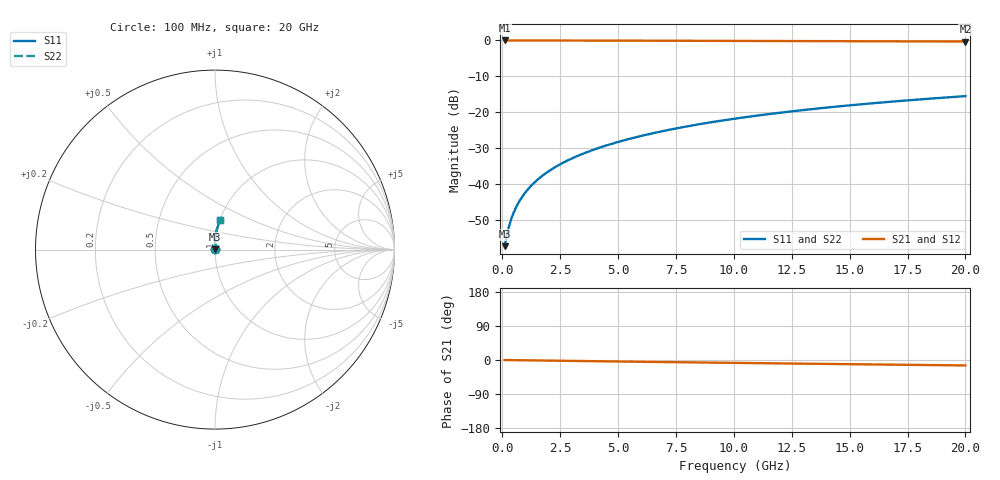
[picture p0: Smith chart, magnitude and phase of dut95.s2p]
! Touchstone file exported from HFSS 2024.1.0
!  File:  C:/UserFiles/LocalFiles/RDL_TSV_Batchsim/temp_RDL_top_95_1778683032.aedt
!  Generated:  10:39:29 PM May 13, 2026
!  Design:  RDL_top
!  Project:  temp_RDL_top_95_1778683032
!  Setup:  Setup1
!  Solution:  Sweep
! Variables:
!  dtsv = 10.80580581um
!  hbump = 3um
!  htsv = 89.74um
!  ldown = 100um
!  lrdl = 160.21um
!  p = 40
!  p1 = 52.09um
!  rhole = 1um
!  t = 450um
!  tdown = 3.915915916um
!  trdl = 3.1um
!  wdown = 15.38538539um
!  wrdl = 22.23um
# GHz S MA R 50.000000
! Terminal data exported
! Port[1] = Box2_T1
! Port[2] = Box2_T2
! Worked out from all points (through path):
!   200 points, 100 MHz to 20 GHz, reference 50 ohm
!   highest |S21| = -0.01 dB at 100 MHz (marker M1); lowest = -0.3 dB at 20 GHz (marker M2)
!   group delay of S21, straight-line fit = 1.98 ps
!   lowest |S11| = -57.4 dB at 100 MHz (marker M3), VSWR 1.00, Z = 50.1 + j0.0802 ohm
!   |S11| at or under -10 dB: start of sweep to end of sweep
!   |S22| runs from -57.4 to -15.5 dB; largest |S21 - S12| = 3.4e-15
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0.1  0.001347 36.5  0.9989 -0.1  0.9989 -0.1  0.001347 36.5
! Gamma 0 0 0 0
! Port Impedance 50 0 50 0
0.2  0.001938 54.8  0.9989 -0.2  0.9989 -0.2  0.001938 54.8
0.3  0.002616 63.7  0.9988 -0.3  0.9988 -0.3  0.002616 63.7
0.4  0.003314 68.9  0.9988 -0.3  0.9988 -0.3  0.003314 68.9
0.5  0.004018 72.3  0.9987 -0.4  0.9987 -0.4  0.004018 72.3
0.6  0.004726 74.8  0.9987 -0.5  0.9987 -0.5  0.004726 74.8
0.8  0.006151 78.2  0.9986 -0.7  0.9986 -0.7  0.006151 78.2
1.1  0.008315 81.3  0.9984 -0.9  0.9984 -0.9  0.008315 81.3
1.5  0.01124 83.7  0.9981 -1.2  0.9981 -1.2  0.01124 83.7
1.8  0.01346 84.9  0.9979 -1.5  0.9979 -1.5  0.01346 84.9
2.1  0.01569 85.8  0.9977 -1.7  0.9977 -1.7  0.01569 85.8
2.7  0.02022 87.0  0.997 -2.2  0.997 -2.2  0.02022 87.0
3.5  0.02638 88.0  0.9961 -2.8  0.9961 -2.8  0.02638 88.0
4.2  0.03188 88.5  0.995 -3.4  0.995 -3.4  0.03188 88.5
5  0.0383 88.8  0.9938 -4.0  0.9938 -4.0  0.0383 88.8
5.9  0.04566 88.8  0.9922 -4.7  0.9922 -4.7  0.04566 88.8
6.8  0.05317 88.7  0.9906 -5.3  0.9906 -5.3  0.05317 88.7
8.4  0.06679 88.1  0.9876 -6.5  0.9876 -6.5  0.06679 88.1
10.1  0.0815 87.2  0.9843 -7.7  0.9843 -7.7  0.0815 87.2
13.4  0.1103 84.8  0.9781 -10.0  0.9781 -10.0  0.1103 84.8
16.7  0.1389 82.3  0.9719 -12.2  0.9719 -12.2  0.1389 82.3
20  0.167 79.7  0.9656 -14.4  0.9656 -14.4  0.167 79.8
